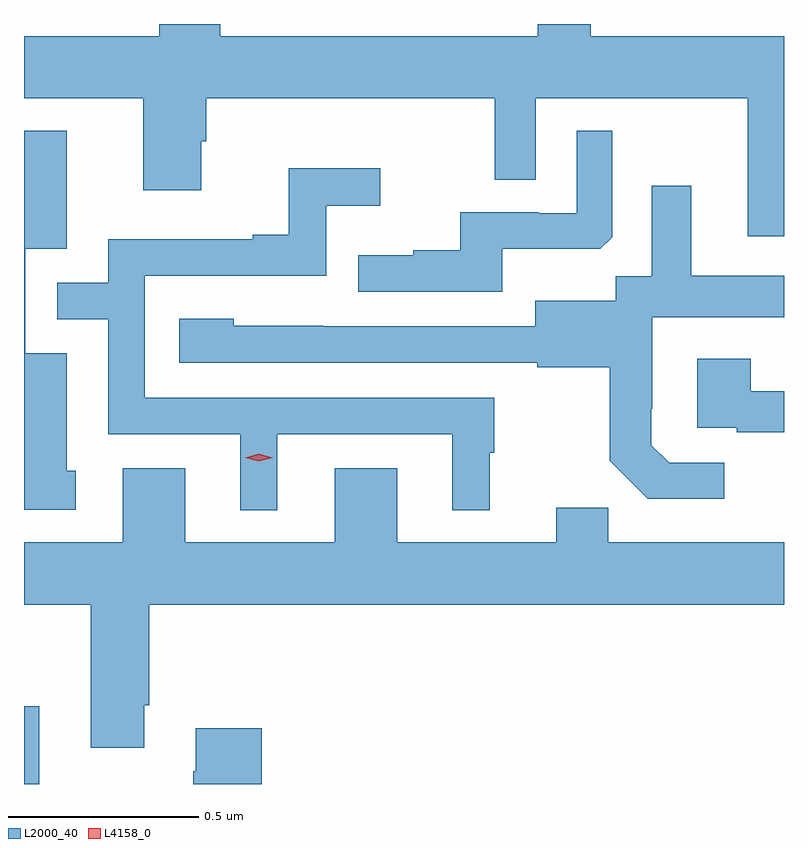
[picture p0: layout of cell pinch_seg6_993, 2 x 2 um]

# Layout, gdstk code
import gdstk
lib = gdstk.Library(unit=1e-6, precision=1e-09)
def R(c, l, rs):  # rectangles x0, y0, x1, y1
    for r in rs: c.add(gdstk.rectangle(r[:2], r[2:], *l))
def P(c, l, *ps):  # polygons
    for p in ps: c.add(gdstk.Polygon(p, *l))
L2000_40 = (2000, 40)
L4158_0 = (4158, 0)

pinch_seg6_993 = lib.new_cell('pinch_seg6_993')
R(pinch_seg6_993, L2000_40, [(348.693,916.228,348.733,916.432)])
P(pinch_seg6_993, L2000_40, [(349.049,918.196),(348.693,918.196),(348.693,918.032),(349.007,918.032),(349.007,917.79),(349.159,917.79),(349.159,917.919),(349.172,917.919),(349.172,918.032),(349.932,918.032),(349.932,917.818),(350.04,917.818),(350.04,918.032),(350.597,918.032),(350.597,917.67),(350.693,917.67),(350.693,918.196),(350.185,918.196),(350.185,918.228),(350.045,918.228),(350.045,918.196),(349.209,918.196),(349.209,918.228),(349.049,918.228)],
  [(349.951,917.636),(350.209,917.636),(350.241,917.667),(350.241,917.947),(350.148,917.947),(350.148,917.73),(350.048,917.73),(350.048,917.733),(349.841,917.733),(349.841,917.632),(349.717,917.632),(349.717,917.62),(349.573,917.62),(349.573,917.523),(349.951,917.523)],
  [(348.829,917.052),(348.805,917.052),(348.805,917.361),(348.696,917.361),(348.696,917.637),(348.805,917.637),(348.805,917.947),(348.693,917.947),(348.693,916.95),(348.829,916.95)],
  [(349.36,917.148),(349.82,917.148),(349.82,916.949),(349.918,916.949),(349.918,917.1),(349.93,917.1),(349.93,917.244),(349.011,917.244),(349.011,917.565),(349.488,917.565),(349.488,917.75),(349.63,917.75),(349.63,917.849),(349.39,917.849),(349.39,917.674),(349.295,917.674),(349.295,917.661),(348.915,917.661),(348.915,917.547),(348.781,917.547),(348.781,917.451),(348.915,917.451),(348.915,917.148),(349.262,917.148),(349.262,916.949),(349.36,916.949)],
  [(350.536,917.073),(350.391,917.073),(350.344,917.12),(350.344,917.215),(350.346,917.215),(350.346,917.456),(350.693,917.456),(350.693,917.566),(350.449,917.566),(350.449,917.803),(350.345,917.803),(350.345,917.564),(350.25,917.564),(350.25,917.5),(350.039,917.5),(350.039,917.433),(349.481,917.433),(349.481,917.434),(349.245,917.434),(349.245,917.452),(349.101,917.452),(349.101,917.337),(350.043,917.337),(350.043,917.325),(350.235,917.325),(350.235,917.079),(350.335,916.979),(350.536,916.979)],
  [(350.693,917.262),(350.605,917.262),(350.605,917.347),(350.465,917.347),(350.465,917.166),(350.569,917.166),(350.569,917.154),(350.693,917.154)],
  [(349.009,916.435),(349.022,916.435),(349.022,916.7),(350.693,916.7),(350.693,916.864),(350.231,916.864),(350.231,916.955),(350.093,916.955),(350.093,916.864),(349.675,916.864),(349.675,917.059),(349.511,917.059),(349.511,916.864),(349.117,916.864),(349.117,917.059),(348.953,917.059),(348.953,916.864),(348.693,916.864),(348.693,916.7),(348.869,916.7),(348.869,916.323),(349.009,916.323)],
  [(349.318,916.375),(349.145,916.375),(349.145,916.262),(349.138,916.262),(349.138,916.228),(349.318,916.228)])
P(pinch_seg6_993, L4158_0, [(349.311,917.077),(349.275,917.087),(349.275,917.087),(349.275,917.087),(349.311,917.097),(349.347,917.087),(349.347,917.087),(349.347,917.087)])

lib.write_gds('pinch_seg6_993.gds')
